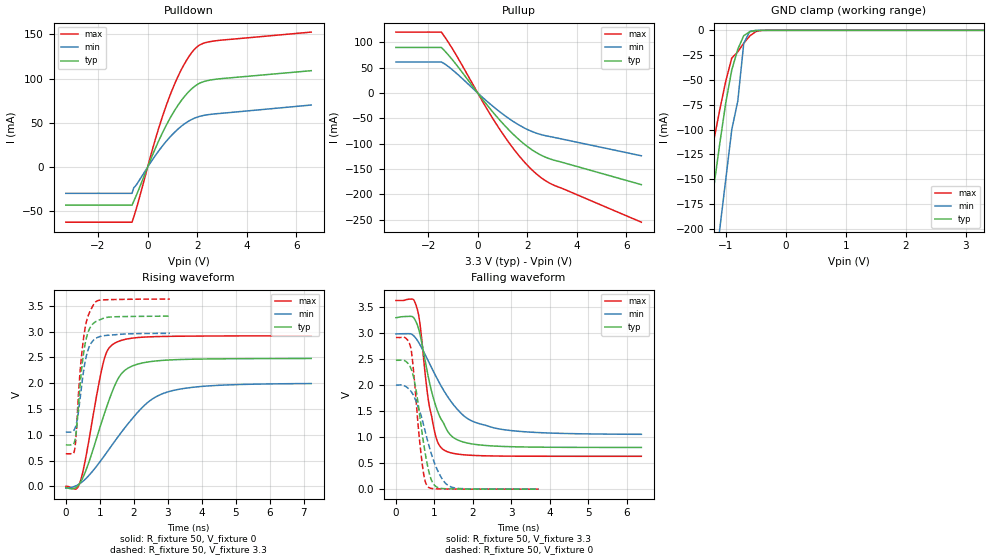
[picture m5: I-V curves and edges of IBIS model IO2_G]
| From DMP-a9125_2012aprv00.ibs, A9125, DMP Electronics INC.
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[Model]   IO2_G
|   IO2_G  MODEL
|   DATE   :  2008/8/25 ;
|   REVISION :  0.1.1 ;
|   Model generated   Mon Aug 25 17:59:35 2008
Model_type  I/O
Polarity   Non-Inverting
Enable   Active-Low
| Signals
Vinl = 0.8
Vinh = 2.0
Vmeas = 1.65
| variable   typ   min   max
C_comp   3.707pf   3.614pf   4.133pf
[Model Spec]
|   Subparameter   typ   min   max
Vinh   2.000   2.000   2.000
Vinl   0.800   0.800   0.800
Vmeas   1.650   1.485   1.815
[Temperature Range]   25   125   -40
|   typ   min   max
[Voltage Range]   3.3V   2.97V   3.63V
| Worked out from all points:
|   slope of the pulldown table from 0 to 0.495 V, typ, clamps not added: 15.2 ohm
|   slope of the pullup table from 0 to 0.495 V, typ, clamps not added: 16.1 ohm
|   GND clamp passes 1 mA (typ) near -0.56 V on its own axis
|   rising waveform, R_fixture 50, V_fixture 0: 20-80 % time 772ps typ, 1.46ns min, 485ps max; typ from -0.019 V to 2.48 V
|   falling waveform, R_fixture 50, V_fixture 3.3: 20-80 % time 536ps typ, 969ps min, 322ps max; typ from 3.3 V to 0.803 V
|   rising waveform, R_fixture 50, V_fixture 3.3: 20-80 % time 238ps typ, 257ps min, 232ps max; typ from 0.802 V to 3.3 V
|   falling waveform, R_fixture 50, V_fixture 0: 20-80 % time 305ps typ, 491ps min, 218ps max; typ from 2.48 V to 0.001 V
[Pulldown]
|   Voltage   I(typ)   I(min)   I(max)
-3.3V     -42.84mA   -29.52mA   -62.08mA
-630mV    -42.84mA   -29.52mA   -62.08mA
-560mV    -38.57mA   -23.31mA   -56.31mA
350mV     23.61mA    14.6mA     34.98mA
840mV     51.87mA    32.03mA    76.31mA
1.19V     68.38mA    42.09mA    100.2mA
1.47V     79.15mA    48.52mA    115.8mA
1.75V     87.68mA    53.43mA    128.2mA
2.03V     93.69mA    56.74mA    136.5mA
2.31V     96.96mA    58.66mA    140.3mA
2.8V      99.42mA    60.38mA    142.8mA
6.6V      108.9mA    70.14mA    152.4mA
[GND Clamp]
|   Voltage   I(typ)   I(min)   I(max)
-3.3V     -1.21A     -1.3A      -1.15A
-1.4V     -252mA     -350mA     -200mA
-1.3V     -204mA     -300mA     -150mA
-1.2V     -158mA     -250mA     -111mA
-1.1V     -114mA     -200mA     -80mA
-1V       -72.9mA    -150mA     -51.1mA
-900mV    -39.9mA    -100mA     -27.9mA
-800mV    -19.1mA    -71.3mA    -21.7mA
-700mV    -5.32mA    -13mA      -12.9mA
-600mV    -1.53mA    -1.01mA    -5.7mA
-400mV    -13.4uA    -4.88uA    -88.4uA
3.3V      0A         0A         0A
[Pullup]
|   Voltage   I(typ)   I(min)   I(max)
|( VDD-Vmeas )
-3.3V     89.78mA    61.11mA    120.1mA
-1.47V    89.78mA    61.11mA    120.1mA
-1.26V    79.12mA    54.85mA    105.5mA
-910mV    58.69mA    41.08mA    78.16mA
280mV     -17.73mA   -12.34mA   -23.78mA
840mV     -50.73mA   -35.17mA   -68.02mA
1.54V     -86.31mA   -59.37mA   -116mA
1.89V     -101.2mA   -69.13mA   -136.4mA
2.17V     -111.3mA   -75.5mA    -150.6mA
2.59V     -123.3mA   -82.42mA   -168.1mA
3.01V     -131.4mA   -86.79mA   -180.3mA
6.6V      -180.6mA   -123.7mA   -254.6mA
[POWER Clamp]
|   Voltage   I(typ)   I(min)   I(max)
|( VDD-Vmeas )
-3.3V     0A         0A         0A
0V        0A         0A         0A
[Rising Waveform]
R_fixture = 50
V_fixture = 0
V_fixture_min = 0
V_fixture_max = 0
C_fixture = 0
L_fixture = 0
|   Time   V(typ)   V(min)   V(max)
0s        -19.46mV   -33.75mV   -89.95uV
312ps     -17.15mV   15.26mV    -46.79mV
429ps     76.29mV    61.21mV    100.9mV
1.092ns   1.324V     555.8mV    2.37V
1.209ns   1.554V     662.6mV    2.613V
1.404ns   1.9V       842.3mV    2.761V
1.872ns   2.306V     1.248V     2.865V
2.418ns   2.411V     1.631V     2.896V
2.964ns   2.446V     1.824V     2.906V
7.215ns   2.478V     1.993V     2.917V
[Falling Waveform]
R_fixture = 50
V_fixture = 3.3
V_fixture_min = 2.97
V_fixture_max = 3.63
C_fixture = 0
L_fixture = 0
|   Time   V(typ)   V(min)   V(max)
0s        3.299V     2.987V     3.63V
527ps     3.215V     2.895V     3.533V
620ps     2.999V     2.787V     3.216V
868ps     2.07V      2.427V     1.603V
1.054ns   1.564V     2.153V     970.8mV
1.24ns    1.27V      1.904V     758.2mV
1.457ns   1.017V     1.663V     694.8mV
1.829ns   892.7mV    1.376V     658mV
2.573ns   829.3mV    1.176V     638.5mV
6.386ns   802.8mV    1.055V     632.4mV
[Rising Waveform]
R_fixture = 50
V_fixture = 3.3
V_fixture_min = 2.97
V_fixture_max = 3.63
C_fixture = 0
L_fixture = 0
|   Time   V(typ)   V(min)   V(max)
0s        802.5mV    1.051V     632.3mV
216ps     813.5mV    1.07V      635.5mV
264ps     880.5mV    1.116V     725.3mV
324ps     1.169V     1.253V     1.217V
408ps     1.873V     1.632V     2.122V
516ps     2.547V     2.202V     2.841V
648ps     2.972V     2.631V     3.287V
828ps     3.168V     2.842V     3.535V
1.26ns    3.279V     2.929V     3.618V
3.06ns    3.298V     2.965V     3.629V
[Falling Waveform]
R_fixture = 50
V_fixture = 0
V_fixture_min = 0
V_fixture_max = 0
C_fixture = 0
L_fixture = 0
|   Time   V(typ)   V(min)   V(max)
0s        2.48V      2.001V     2.918V
240ps     2.468V     1.981V     2.914V
384ps     2.335V     1.89V      2.726V
512ps     1.959V     1.714V     1.825V
688ps     1.047V     1.328V     465.4mV
752ps     736.4mV    1.14V      179.6mV
832ps     420.8mV    911.4mV    48.09mV
1.008ns   72.52mV    494.3mV    8.031mV
1.392ns   6.068mV    55.93mV    2.957mV
3.712ns   536.3uV    1.226mV    245.5uV
[Ramp]
| variables   typ   min   max
dV/dt_r   1.48818/767.058p 1.2009/1.44851n 1.75068/484.645p
dV/dt_f   1.49851/536.583p 1.15116/968.518p 1.79858/321.418p
R_load   = 50.000000 | Ohms
| [End Model]
